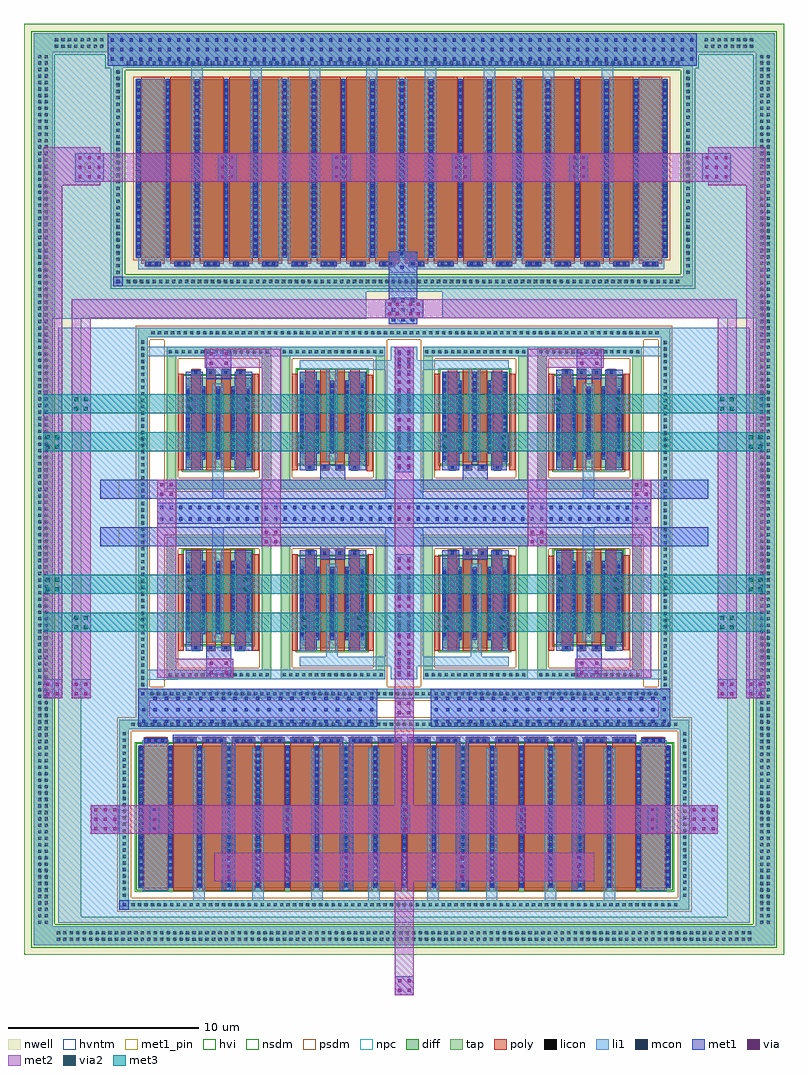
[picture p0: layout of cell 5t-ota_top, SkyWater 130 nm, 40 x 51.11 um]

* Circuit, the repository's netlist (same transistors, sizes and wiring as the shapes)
** sch_path: /foss/designs/icdec-biomedical-pmic/xschem/error-amplifier2/schematics/1st-stage.sch
.subckt 1st-stage VDD D1 D2 VP VN S D2 D1 VSS IBIAS S VSS
*.PININFO VDD:B D1:B D2:B VP:I VN:I S:B D2:B D1:B VSS:B IBIAS:I S:B VSS:B
XM1 D2 D1 VDD VDD sky130_fd_pr__pfet_g5v0d10v5 L=1.25 W=75.2 nf=8 m=1
XM2 D1 D1 VDD VDD sky130_fd_pr__pfet_g5v0d10v5 L=1.25 W=75.2 nf=8 m=1
XM3 D1 D1 D1 VDD sky130_fd_pr__pfet_g5v0d10v5 L=1.25 W=9.4 nf=1 m=1
XM4 D1 D1 D1 VDD sky130_fd_pr__pfet_g5v0d10v5 L=1.25 W=9.4 nf=1 m=1
XM5 D2 VN S VSS sky130_fd_pr__nfet_g5v0d10v5 L=0.5 W=38 nf=2 m=1
XM6 D1 VP S VSS sky130_fd_pr__nfet_g5v0d10v5 L=0.5 W=38 nf=2 m=1
XM7 D2 D2 D2 VSS sky130_fd_pr__nfet_g5v0d10v5 L=0.5 W=4.75 nf=1 m=1
XM8 D1 D1 D1 VSS sky130_fd_pr__nfet_g5v0d10v5 L=0.5 W=4.75 nf=1 m=1
XM9 D2 D2 D2 VSS sky130_fd_pr__nfet_g5v0d10v5 L=0.5 W=4.75 nf=1 m=1
XM10 D1 D1 D1 VSS sky130_fd_pr__nfet_g5v0d10v5 L=0.5 W=4.75 nf=1 m=1
XM11 D2 D2 D2 VSS sky130_fd_pr__nfet_g5v0d10v5 L=0.5 W=4.75 nf=1 m=1
XM12 D1 D1 D1 VSS sky130_fd_pr__nfet_g5v0d10v5 L=0.5 W=4.75 nf=1 m=1
XM13 D2 D2 D2 VSS sky130_fd_pr__nfet_g5v0d10v5 L=0.5 W=4.75 nf=1 m=1
XM14 D1 D1 D1 VSS sky130_fd_pr__nfet_g5v0d10v5 L=0.5 W=4.75 nf=1 m=1
XM15 D2 D2 D2 VSS sky130_fd_pr__nfet_g5v0d10v5 L=0.5 W=4.75 nf=1 m=1
XM16 D1 D1 D1 VSS sky130_fd_pr__nfet_g5v0d10v5 L=0.5 W=4.75 nf=1 m=1
XM17 D2 D2 D2 VSS sky130_fd_pr__nfet_g5v0d10v5 L=0.5 W=4.75 nf=1 m=1
XM18 D1 D1 D1 VSS sky130_fd_pr__nfet_g5v0d10v5 L=0.5 W=4.75 nf=1 m=1
XM19 D2 D2 D2 VSS sky130_fd_pr__nfet_g5v0d10v5 L=0.5 W=4.75 nf=1 m=1
XM20 D1 D1 D1 VSS sky130_fd_pr__nfet_g5v0d10v5 L=0.5 W=4.75 nf=1 m=1
XM21 D2 D2 D2 VSS sky130_fd_pr__nfet_g5v0d10v5 L=0.5 W=4.75 nf=1 m=1
XM22 D1 D1 D1 VSS sky130_fd_pr__nfet_g5v0d10v5 L=0.5 W=4.75 nf=1 m=1
XM23 S IBIAS VSS VSS sky130_fd_pr__nfet_g5v0d10v5 L=1.25 W=60 nf=4 m=1
XM24 IBIAS IBIAS VSS VSS sky130_fd_pr__nfet_g5v0d10v5 L=1.25 W=60 nf=4 m=1
XM25 S S S VSS sky130_fd_pr__nfet_g5v0d10v5 L=1.25 W=7.5 nf=1 m=1
XM26 S S S VSS sky130_fd_pr__nfet_g5v0d10v5 L=1.25 W=7.5 nf=1 m=1
.ends

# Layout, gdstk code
import gdstk
lib = gdstk.Library(unit=1e-6, precision=1e-09)
def R(c, l, rs):  # rectangles x0, y0, x1, y1
    for r in rs: c.add(gdstk.rectangle(r[:2], r[2:], *l))
def A(c, l, x, y, w, h, nx, ny, dx, dy):  # array of equal rectangles
    R(c, l, [(x+i*dx, y+j*dy, x+i*dx+w, y+j*dy+h) for i in range(nx) for j in range(ny)])
nwell = (64, 20)
diff = (65, 20)
tap = (65, 44)
poly = (66, 20)
licon = (66, 44)
li1 = (67, 20)
mcon = (67, 44)
met1_pin = (68, 16)
met1 = (68, 20)
via = (68, 44)
met2 = (69, 20)
via2 = (69, 44)
met3 = (70, 20)
hvi = (75, 20)
nsdm = (93, 44)
psdm = (94, 20)
npc = (95, 20)
hvntm = (125, 20)

sky130_fd_pr__nfet_g5v0d = lib.new_cell('sky130_fd_pr__nfet_g5v0d10v5_7GKDBD')
R(sky130_fd_pr__nfet_g5v0d, diff, [(-14.005,-3.905,14.005,3.595)])
A(sky130_fd_pr__nfet_g5v0d, poly, -13.715, -4.035, 1.25, 8.07, 18, 1, 1.54, 0)
A(sky130_fd_pr__nfet_g5v0d, licon, -13.945, -3.81, 0.17, 0.17, 19, 22, 1.54, 0.34)
A(sky130_fd_pr__nfet_g5v0d, licon, -13.515, 3.785, 0.17, 0.17, 3, 1, 0.34, 0)
A(sky130_fd_pr__nfet_g5v0d, licon, -11.975, 3.785, 0.17, 0.17, 3, 1, 0.34, 0)
A(sky130_fd_pr__nfet_g5v0d, licon, -10.435, 3.785, 0.17, 0.17, 3, 1, 0.34, 0)
A(sky130_fd_pr__nfet_g5v0d, licon, -8.895, 3.785, 0.17, 0.17, 3, 1, 0.34, 0)
A(sky130_fd_pr__nfet_g5v0d, licon, -7.355, 3.785, 0.17, 0.17, 3, 1, 0.34, 0)
A(sky130_fd_pr__nfet_g5v0d, licon, -5.815, 3.785, 0.17, 0.17, 3, 1, 0.34, 0)
A(sky130_fd_pr__nfet_g5v0d, licon, -4.275, 3.785, 0.17, 0.17, 3, 1, 0.34, 0)
A(sky130_fd_pr__nfet_g5v0d, licon, -2.735, 3.785, 0.17, 0.17, 3, 1, 0.34, 0)
A(sky130_fd_pr__nfet_g5v0d, licon, -1.195, 3.785, 0.17, 0.17, 3, 1, 0.34, 0)
A(sky130_fd_pr__nfet_g5v0d, licon, 0.345, 3.785, 0.17, 0.17, 3, 1, 0.34, 0)
A(sky130_fd_pr__nfet_g5v0d, licon, 1.885, 3.785, 0.17, 0.17, 3, 1, 0.34, 0)
A(sky130_fd_pr__nfet_g5v0d, licon, 3.425, 3.785, 0.17, 0.17, 3, 1, 0.34, 0)
A(sky130_fd_pr__nfet_g5v0d, licon, 4.965, 3.785, 0.17, 0.17, 3, 1, 0.34, 0)
A(sky130_fd_pr__nfet_g5v0d, licon, 6.505, 3.785, 0.17, 0.17, 3, 1, 0.34, 0)
A(sky130_fd_pr__nfet_g5v0d, licon, 8.045, 3.785, 0.17, 0.17, 3, 1, 0.34, 0)
A(sky130_fd_pr__nfet_g5v0d, licon, 9.585, 3.785, 0.17, 0.17, 3, 1, 0.34, 0)
A(sky130_fd_pr__nfet_g5v0d, licon, 11.125, 3.785, 0.17, 0.17, 3, 1, 0.34, 0)
A(sky130_fd_pr__nfet_g5v0d, licon, 12.665, 3.785, 0.17, 0.17, 3, 1, 0.34, 0)
A(sky130_fd_pr__nfet_g5v0d, li1, -13.945, -3.925, 0.17, 7.54, 19, 1, 1.54, 0)
A(sky130_fd_pr__nfet_g5v0d, li1, -13.715, 3.785, 1.25, 0.17, 18, 1, 1.54, 0)
A(sky130_fd_pr__nfet_g5v0d, mcon, -13.945, -3.84, 0.17, 0.17, 19, 21, 1.54, 0.36)
A(sky130_fd_pr__nfet_g5v0d, mcon, -13.535, 3.785, 0.17, 0.17, 3, 1, 0.36, 0)
A(sky130_fd_pr__nfet_g5v0d, mcon, -11.995, 3.785, 0.17, 0.17, 3, 1, 0.36, 0)
A(sky130_fd_pr__nfet_g5v0d, mcon, -10.455, 3.785, 0.17, 0.17, 3, 1, 0.36, 0)
A(sky130_fd_pr__nfet_g5v0d, mcon, -8.915, 3.785, 0.17, 0.17, 3, 1, 0.36, 0)
A(sky130_fd_pr__nfet_g5v0d, mcon, -7.375, 3.785, 0.17, 0.17, 3, 1, 0.36, 0)
A(sky130_fd_pr__nfet_g5v0d, mcon, -5.835, 3.785, 0.17, 0.17, 3, 1, 0.36, 0)
A(sky130_fd_pr__nfet_g5v0d, mcon, -4.295, 3.785, 0.17, 0.17, 3, 1, 0.36, 0)
A(sky130_fd_pr__nfet_g5v0d, mcon, -2.755, 3.785, 0.17, 0.17, 3, 1, 0.36, 0)
A(sky130_fd_pr__nfet_g5v0d, mcon, -1.215, 3.785, 0.17, 0.17, 3, 1, 0.36, 0)
A(sky130_fd_pr__nfet_g5v0d, mcon, 0.325, 3.785, 0.17, 0.17, 3, 1, 0.36, 0)
A(sky130_fd_pr__nfet_g5v0d, mcon, 1.865, 3.785, 0.17, 0.17, 3, 1, 0.36, 0)
A(sky130_fd_pr__nfet_g5v0d, mcon, 3.405, 3.785, 0.17, 0.17, 3, 1, 0.36, 0)
A(sky130_fd_pr__nfet_g5v0d, mcon, 4.945, 3.785, 0.17, 0.17, 3, 1, 0.36, 0)
A(sky130_fd_pr__nfet_g5v0d, mcon, 6.485, 3.785, 0.17, 0.17, 3, 1, 0.36, 0)
A(sky130_fd_pr__nfet_g5v0d, mcon, 8.025, 3.785, 0.17, 0.17, 3, 1, 0.36, 0)
A(sky130_fd_pr__nfet_g5v0d, mcon, 9.565, 3.785, 0.17, 0.17, 3, 1, 0.36, 0)
A(sky130_fd_pr__nfet_g5v0d, mcon, 11.105, 3.785, 0.17, 0.17, 3, 1, 0.36, 0)
A(sky130_fd_pr__nfet_g5v0d, mcon, 12.645, 3.785, 0.17, 0.17, 3, 1, 0.36, 0)
A(sky130_fd_pr__nfet_g5v0d, met1, -13.975, -3.905, 0.23, 7.5, 19, 1, 1.54, 0)
A(sky130_fd_pr__nfet_g5v0d, met1, -13.695, 3.755, 1.21, 0.23, 18, 1, 1.54, 0)
R(sky130_fd_pr__nfet_g5v0d, hvi, [(-14.19,-4.09,14.19,3.78)])
R(sky130_fd_pr__nfet_g5v0d, nsdm, [(-14.13,-4.03,14.13,3.72)])
A(sky130_fd_pr__nfet_g5v0d, npc, -13.615, 3.685, 1.05, 0.37, 18, 1, 1.54, 0)
R(sky130_fd_pr__nfet_g5v0d, hvntm, [(-14.19,-4.09,14.19,3.78)])

c_y = lib.new_cell('y')
R(c_y, tap, [(10.5,-4.5,40.5,-4), (10.5,-4,11,5), (40,-4,40.5,5), (10.5,5,40.5,5.5)])
A(c_y, licon, 11.135, -4.335, 0.17, 0.17, 85, 2, 0.34, 9.5)
A(c_y, licon, 10.665, -3.835, 0.17, 0.17, 1, 26, 0, 0.34)
A(c_y, licon, 40.165, -3.835, 0.17, 0.17, 1, 26, 0, 0.34)
A(c_y, li1, 14.4, -4, 0.6, 8, 3, 1, 3.1, 0)
A(c_y, li1, 23.6, -4, 0.6, 8, 5, 1, 3.1, 0)
R(c_y, li1, [(10.5,-4.5,40.5,-4), (10.5,-4,11,5), (40,-4,40.5,5), (11.7,-3.5,13.1,4.4), (37.9,-3.5,39.3,4.4), (10.5,5,40.5,5.5)])
A(c_y, mcon, 12.265, -0.335, 0.17, 0.17, 1, 3, 0, 0.5)
A(c_y, mcon, 38.465, -0.335, 0.17, 0.17, 1, 3, 0, 0.5)
R(c_y, mcon, [(10.665,-4.335,10.835,-4.165)])
R(c_y, met1_pin, [(25,-9,26,-8), (10.5,-4.5,11,-4), (9.3,-0.2,10.3,0.8)])
A(c_y, met1, 22.1, -3.5, 0.7, 7.8, 3, 1, 6.1, 0)
R(c_y, met1, [(25,-9,26,-8), (10.5,-4.5,11,-4), (15.9,-3.5,16.6,4.3), (9,-0.5,10.5,1), (12.1,-0.5,12.6,1), (19.1,-0.5,19.6,1), (25.3,-0.5,25.8,1), (31.4,-0.5,31.9,1), (38.3,-0.5,38.8,1), (40.5,-0.5,42,1), (13.3,4.3,37.7,4.7)])
A(c_y, via, 16.175, -2.825, 0.15, 0.15, 1, 3, 0, 0.5)
A(c_y, via, 22.375, -2.825, 0.15, 0.15, 3, 3, 6.1, 0.5)
A(c_y, via, 9.175, -0.325, 0.15, 0.15, 3, 3, 0.5, 0.5)
A(c_y, via, 12.275, -0.325, 0.15, 0.15, 1, 3, 0, 0.5)
A(c_y, via, 19.275, -0.325, 0.15, 0.15, 1, 3, 0, 0.5)
A(c_y, via, 25.475, -0.325, 0.15, 0.15, 1, 3, 0, 0.5)
A(c_y, via, 31.575, -0.325, 0.15, 0.15, 1, 3, 0, 0.5)
A(c_y, via, 38.475, -0.325, 0.15, 0.15, 1, 3, 0, 0.5)
A(c_y, via, 40.675, -0.325, 0.15, 0.15, 3, 3, 0.5, 0.5)
R(c_y, via, [(25.175,-8.825,25.325,-8.675), (25.675,-8.825,25.825,-8.675), (25.175,-8.325,25.325,-8.175), (25.675,-8.325,25.825,-8.175)])
R(c_y, met2, [(25,-9,26,-3), (15.5,-3,35.5,-1.5), (9,-0.5,42,1)])
R(c_y, psdm, [(10.375,-4.625,40.625,-3.875), (10.375,-3.875,11.125,4.875), (39.875,-3.875,40.625,4.875), (10.375,4.875,40.625,5.625)])
c_y.add(gdstk.Reference(sky130_fd_pr__nfet_g5v0d, (25.505,0.535)))
c_y.add(gdstk.Label('IBIAS', (25.5,-8.5), layer=68, texttype=5))
c_y.add(gdstk.Label('S', (9.8,0.3), layer=68, texttype=5))
c_y.add(gdstk.Label('VSS', (10.75,-4.25), layer=68, texttype=5))

sky130_fd_pr__pfet_g5v0d = lib.new_cell('sky130_fd_pr__pfet_g5v0d10v5_ZPXM7F')
R(sky130_fd_pr__pfet_g5v0d, nwell, [(-14.185,-5.02,14.185,5.19)])
R(sky130_fd_pr__pfet_g5v0d, diff, [(-14.005,-4.52,14.005,4.88)])
A(sky130_fd_pr__pfet_g5v0d, poly, -13.525, -5.005, 0.87, 0.165, 18, 1, 1.54, 0)
A(sky130_fd_pr__pfet_g5v0d, poly, -13.715, -4.84, 1.25, 9.85, 18, 1, 1.54, 0)
A(sky130_fd_pr__pfet_g5v0d, licon, -13.945, -4.325, 0.17, 0.17, 19, 27, 1.54, 0.34)
R(sky130_fd_pr__pfet_g5v0d, licon, [(-13.345,-4.925,-13.175,-4.755), (-13.005,-4.925,-12.835,-4.755), (-11.805,-4.925,-11.635,-4.755), (-11.465,-4.925,-11.295,-4.755), (-10.265,-4.925,-10.095,-4.755), (-9.925,-4.925,-9.755,-4.755), (-8.725,-4.925,-8.555,-4.755), (-8.385,-4.925,-8.215,-4.755), (-7.185,-4.925,-7.015,-4.755), (-6.845,-4.925,-6.675,-4.755), (-5.645,-4.925,-5.475,-4.755), (-5.305,-4.925,-5.135,-4.755), (-4.105,-4.925,-3.935,-4.755), (-3.765,-4.925,-3.595,-4.755), (-2.565,-4.925,-2.395,-4.755), (-2.225,-4.925,-2.055,-4.755), (-1.025,-4.925,-0.855,-4.755), (-0.685,-4.925,-0.515,-4.755), (0.515,-4.925,0.685,-4.755), (0.855,-4.925,1.025,-4.755), (2.055,-4.925,2.225,-4.755), (2.395,-4.925,2.565,-4.755), (3.595,-4.925,3.765,-4.755), (3.935,-4.925,4.105,-4.755), (5.135,-4.925,5.305,-4.755), (5.475,-4.925,5.645,-4.755), (6.675,-4.925,6.845,-4.755), (7.015,-4.925,7.185,-4.755), (8.215,-4.925,8.385,-4.755), (8.555,-4.925,8.725,-4.755), (9.755,-4.925,9.925,-4.755), (10.095,-4.925,10.265,-4.755), (11.295,-4.925,11.465,-4.755), (11.635,-4.925,11.805,-4.755), (12.835,-4.925,13.005,-4.755), (13.175,-4.925,13.345,-4.755)])
A(sky130_fd_pr__pfet_g5v0d, li1, -13.525, -4.925, 0.87, 0.17, 18, 1, 1.54, 0)
A(sky130_fd_pr__pfet_g5v0d, li1, -13.945, -4.54, 0.17, 9.44, 19, 1, 1.54, 0)
A(sky130_fd_pr__pfet_g5v0d, mcon, -13.945, -4.405, 0.17, 0.17, 19, 26, 1.54, 0.36)
R(sky130_fd_pr__pfet_g5v0d, mcon, [(-13.355,-4.925,-13.185,-4.755), (-12.995,-4.925,-12.825,-4.755), (-11.815,-4.925,-11.645,-4.755), (-11.455,-4.925,-11.285,-4.755), (-10.275,-4.925,-10.105,-4.755), (-9.915,-4.925,-9.745,-4.755), (-8.735,-4.925,-8.565,-4.755), (-8.375,-4.925,-8.205,-4.755), (-7.195,-4.925,-7.025,-4.755), (-6.835,-4.925,-6.665,-4.755), (-5.655,-4.925,-5.485,-4.755), (-5.295,-4.925,-5.125,-4.755), (-4.115,-4.925,-3.945,-4.755), (-3.755,-4.925,-3.585,-4.755), (-2.575,-4.925,-2.405,-4.755), (-2.215,-4.925,-2.045,-4.755), (-1.035,-4.925,-0.865,-4.755), (-0.675,-4.925,-0.505,-4.755), (0.505,-4.925,0.675,-4.755), (0.865,-4.925,1.035,-4.755), (2.045,-4.925,2.215,-4.755), (2.405,-4.925,2.575,-4.755), (3.585,-4.925,3.755,-4.755), (3.945,-4.925,4.115,-4.755), (5.125,-4.925,5.295,-4.755), (5.485,-4.925,5.655,-4.755), (6.665,-4.925,6.835,-4.755), (7.025,-4.925,7.195,-4.755), (8.205,-4.925,8.375,-4.755), (8.565,-4.925,8.735,-4.755), (9.745,-4.925,9.915,-4.755), (10.105,-4.925,10.275,-4.755), (11.285,-4.925,11.455,-4.755), (11.645,-4.925,11.815,-4.755), (12.825,-4.925,12.995,-4.755), (13.185,-4.925,13.355,-4.755)])
A(sky130_fd_pr__pfet_g5v0d, met1, -13.505, -4.955, 0.83, 0.23, 18, 1, 1.54, 0)
A(sky130_fd_pr__pfet_g5v0d, met1, -13.975, -4.52, 0.23, 9.4, 19, 1, 1.54, 0)
R(sky130_fd_pr__pfet_g5v0d, hvi, [(-14.185,-5.02,14.185,-4.705), (-14.19,-4.705,14.19,5.065), (-14.185,5.065,14.185,5.19)])
R(sky130_fd_pr__pfet_g5v0d, psdm, [(-14.13,-4.645,14.13,5.005)])
A(sky130_fd_pr__pfet_g5v0d, npc, -13.445, -5.025, 0.71, 0.37, 18, 1, 1.54, 0)

mirror_load = lib.new_cell('mirror-load')
R(mirror_load, nwell, [(6.2,-0.8,37.2,11.7)])
R(mirror_load, tap, [(6.5,-0.5,37,0), (6.5,0,7,11), (36.5,0,37,11), (6.5,11,37,11.5)])
A(mirror_load, licon, 7.215, -0.335, 0.17, 0.17, 86, 2, 0.34, 11.5)
A(mirror_load, licon, 6.665, 0.145, 0.17, 0.17, 1, 32, 0, 0.34)
A(mirror_load, licon, 36.665, 0.145, 0.17, 0.17, 1, 32, 0, 0.34)
A(mirror_load, li1, 10.6, 1, 0.6, 10, 3, 1, 3.1, 0)
A(mirror_load, li1, 19.8, 1, 0.6, 10, 5, 1, 3.1, 0)
R(mirror_load, li1, [(21,-2.5,22.5,-1.1), (6.5,-0.5,37,0), (6.5,0,7,11), (36.5,0,37,11), (21,0.2,22.5,0.4), (7.8,0.4,35.5,0.8), (7.8,0.8,9.3,10.4), (15.2,0.8,15.8,10.4), (21,0.8,22.5,1.3), (27.5,0.8,28.1,10.4), (34,0.8,35.5,10.4), (21.4,1.3,22,10.4), (6.5,11,37,11.5)])
A(mirror_load, mcon, 21.165, -2.335, 0.17, 0.17, 3, 3, 0.5, 0.5)
R(mirror_load, mcon, [(6.665,-0.335,6.835,-0.165), (21.615,0.415,21.785,0.585)])
R(mirror_load, met1_pin, [(21.5,-2,22,-1.5), (6.5,-0.5,7,0), (5,5.5,5.5,6)])
R(mirror_load, met1, [(21,-2.5,22.5,1.3), (6.5,-0.5,7,0), (4.5,5,6,6.5), (12,5,13,6.5), (18,5,19,6.5), (24.3,5,25.3,6.5), (30.5,5,31.5,6.5), (37.5,5,39,6.5)])
A(mirror_load, via, 4.675, 5.175, 0.15, 0.15, 3, 3, 0.5, 0.5)
A(mirror_load, via, 12.175, 5.175, 0.15, 0.15, 1, 3, 0, 0.5)
A(mirror_load, via, 12.675, 5.175, 0.15, 0.15, 1, 3, 0, 0.5)
A(mirror_load, via, 18.175, 5.175, 0.15, 0.15, 1, 3, 0, 0.5)
A(mirror_load, via, 18.675, 5.175, 0.15, 0.15, 1, 3, 0, 0.5)
A(mirror_load, via, 24.475, 5.175, 0.15, 0.15, 1, 3, 0, 0.5)
A(mirror_load, via, 24.975, 5.175, 0.15, 0.15, 1, 3, 0, 0.5)
A(mirror_load, via, 30.675, 5.175, 0.15, 0.15, 1, 3, 0, 0.5)
A(mirror_load, via, 31.175, 5.175, 0.15, 0.15, 1, 3, 0, 0.5)
A(mirror_load, via, 37.675, 5.175, 0.15, 0.15, 3, 3, 0.5, 0.5)
R(mirror_load, met2, [(4.5,5,39,6.5)])
R(mirror_load, hvi, [(6.2,-0.8,37.2,0.5), (6.2,0.5,7.5,0.815), (35.87,0.5,37.2,0.815), (6.2,0.815,7.495,10.585), (35.875,0.815,37.2,10.585), (6.2,10.585,7.5,10.71), (35.87,10.585,37.2,10.71), (6.2,10.71,37.2,11.7)])
R(mirror_load, nsdm, [(6.375,-0.625,37.125,0.125), (6.375,0.125,7.125,10.875), (36.375,0.125,37.125,10.875), (6.375,10.875,37.125,11.625)])
mirror_load.add(gdstk.Reference(sky130_fd_pr__pfet_g5v0d, (21.685,5.52)))
mirror_load.add(gdstk.Label('VDD', (6.75,-0.25), layer=68, texttype=5))
mirror_load.add(gdstk.Label('D1', (21.75,-1.75), layer=68, texttype=5))
mirror_load.add(gdstk.Label('D2', (5.25,5.75), layer=68, texttype=5))

c_sky130_fd_pr__nfet_g5v0d = lib.new_cell('sky130_fd_pr__nfet_g5v0d10v5_X57ESK')
R(c_sky130_fd_pr__nfet_g5v0d, diff, [(-1.725,-2.53,1.725,2.22)])
A(c_sky130_fd_pr__nfet_g5v0d, poly, -1.435, -2.66, 0.5, 5.32, 4, 1, 0.79, 0)
A(c_sky130_fd_pr__nfet_g5v0d, licon, -1.665, -1.94, 0.17, 0.17, 5, 11, 0.79, 0.34)
A(c_sky130_fd_pr__nfet_g5v0d, licon, -1.27, 2.41, 0.17, 0.17, 4, 1, 0.79, 0)
A(c_sky130_fd_pr__nfet_g5v0d, li1, -1.665, -2.085, 0.17, 3.86, 5, 1, 0.79, 0)
A(c_sky130_fd_pr__nfet_g5v0d, li1, -1.435, 2.41, 0.5, 0.17, 4, 1, 0.79, 0)
A(c_sky130_fd_pr__nfet_g5v0d, mcon, -1.665, -1.86, 0.17, 0.17, 5, 10, 0.79, 0.36)
A(c_sky130_fd_pr__nfet_g5v0d, mcon, -1.27, 2.41, 0.17, 0.17, 4, 1, 0.79, 0)
A(c_sky130_fd_pr__nfet_g5v0d, met1, -1.695, -2.065, 0.23, 3.82, 5, 1, 0.79, 0)
A(c_sky130_fd_pr__nfet_g5v0d, met1, -1.415, 2.38, 0.46, 0.23, 4, 1, 0.79, 0)
R(c_sky130_fd_pr__nfet_g5v0d, hvi, [(-1.91,-2.715,1.91,2.405)])
R(c_sky130_fd_pr__nfet_g5v0d, nsdm, [(-1.85,-2.655,1.85,2.345)])
A(c_sky130_fd_pr__nfet_g5v0d, npc, -1.37, 2.31, 0.37, 0.37, 4, 1, 0.79, 0)
R(c_sky130_fd_pr__nfet_g5v0d, hvntm, [(-1.91,-2.715,1.91,2.405)])

c_sky130_fd_pr__nfet_g5v0d_ = lib.new_cell('sky130_fd_pr__nfet_g5v0d10v5_SNDLS5')
R(c_sky130_fd_pr__nfet_g5v0d_, diff, [(-1.725,-2.22,1.725,2.53)])
A(c_sky130_fd_pr__nfet_g5v0d_, poly, -1.435, -2.66, 0.5, 5.32, 4, 1, 0.79, 0)
A(c_sky130_fd_pr__nfet_g5v0d_, licon, -1.27, -2.58, 0.17, 0.17, 4, 1, 0.79, 0)
A(c_sky130_fd_pr__nfet_g5v0d_, licon, -1.665, -1.63, 0.17, 0.17, 5, 11, 0.79, 0.34)
A(c_sky130_fd_pr__nfet_g5v0d_, li1, -1.435, -2.58, 0.5, 0.17, 4, 1, 0.79, 0)
A(c_sky130_fd_pr__nfet_g5v0d_, li1, -1.665, -2.16, 0.17, 4.63, 3, 1, 1.58, 0)
R(c_sky130_fd_pr__nfet_g5v0d_, li1, [(-0.875,-1.775,-0.705,2.085), (0.705,-1.775,0.875,2.085)])
A(c_sky130_fd_pr__nfet_g5v0d_, mcon, -1.27, -2.58, 0.17, 0.17, 4, 1, 0.79, 0)
A(c_sky130_fd_pr__nfet_g5v0d_, mcon, -1.665, -2.09, 0.17, 0.17, 3, 13, 1.58, 0.36)
A(c_sky130_fd_pr__nfet_g5v0d_, mcon, -0.875, -1.55, 0.17, 0.17, 1, 10, 0, 0.36)
A(c_sky130_fd_pr__nfet_g5v0d_, mcon, 0.705, -1.55, 0.17, 0.17, 1, 10, 0, 0.36)
A(c_sky130_fd_pr__nfet_g5v0d_, met1, -1.415, -2.61, 0.46, 0.23, 4, 1, 0.79, 0)
A(c_sky130_fd_pr__nfet_g5v0d_, met1, -1.695, -2.22, 0.23, 4.75, 3, 1, 1.58, 0)
R(c_sky130_fd_pr__nfet_g5v0d_, met1, [(-0.905,-1.755,-0.675,2.065), (0.675,-1.755,0.905,2.065)])
R(c_sky130_fd_pr__nfet_g5v0d_, hvi, [(-1.91,-2.405,1.91,2.715)])
R(c_sky130_fd_pr__nfet_g5v0d_, nsdm, [(-1.85,-2.345,1.85,2.655)])
A(c_sky130_fd_pr__nfet_g5v0d_, npc, -1.37, -2.68, 0.37, 0.37, 4, 1, 0.79, 0)
R(c_sky130_fd_pr__nfet_g5v0d_, hvntm, [(-1.91,-2.405,1.91,2.715)])

c_sky130_fd_pr__nfet_g5v0d__ = lib.new_cell('sky130_fd_pr__nfet_g5v0d10v5_CQ6KSH')
R(c_sky130_fd_pr__nfet_g5v0d__, diff, [(-1.725,-2.22,1.725,2.53)])
A(c_sky130_fd_pr__nfet_g5v0d__, poly, -1.435, -2.66, 0.5, 5.32, 4, 1, 0.79, 0)
A(c_sky130_fd_pr__nfet_g5v0d__, licon, -1.27, -2.58, 0.17, 0.17, 4, 1, 0.79, 0)
A(c_sky130_fd_pr__nfet_g5v0d__, licon, -1.665, -1.63, 0.17, 0.17, 5, 11, 0.79, 0.34)
A(c_sky130_fd_pr__nfet_g5v0d__, li1, -1.435, -2.58, 0.5, 0.17, 4, 1, 0.79, 0)
A(c_sky130_fd_pr__nfet_g5v0d__, li1, -1.665, -1.775, 0.17, 3.86, 5, 1, 0.79, 0)
A(c_sky130_fd_pr__nfet_g5v0d__, mcon, -1.27, -2.58, 0.17, 0.17, 4, 1, 0.79, 0)
A(c_sky130_fd_pr__nfet_g5v0d__, mcon, -1.665, -1.55, 0.17, 0.17, 5, 10, 0.79, 0.36)
A(c_sky130_fd_pr__nfet_g5v0d__, met1, -1.415, -2.61, 0.46, 0.23, 4, 1, 0.79, 0)
A(c_sky130_fd_pr__nfet_g5v0d__, met1, -1.695, -1.755, 0.23, 3.82, 5, 1, 0.79, 0)
R(c_sky130_fd_pr__nfet_g5v0d__, hvi, [(-1.91,-2.405,1.91,2.715)])
R(c_sky130_fd_pr__nfet_g5v0d__, nsdm, [(-1.85,-2.345,1.85,2.655)])
A(c_sky130_fd_pr__nfet_g5v0d__, npc, -1.37, -2.68, 0.37, 0.37, 4, 1, 0.79, 0)
R(c_sky130_fd_pr__nfet_g5v0d__, hvntm, [(-1.91,-2.405,1.91,2.715)])

differential_pair = lib.new_cell('differential-pair')
R(differential_pair, tap, [(6.5,-1.5,34.5,-1), (6.5,-1,7,17.5), (34,-1,34.5,17.5), (8,-0.5,13.5,0), (14,-0.5,19.5,0), (21.5,-0.5,27,0), (27.5,-0.5,33,0), (8,0,8.5,6.5), (13,0,13.5,6.5), (14,0,14.5,6.5), (19,0,19.5,6.5), (21.5,0,22,6.5), (26.5,0,27,6.5), (27.5,0,28,6.5), (32.5,0,33,6.5), (8,6.5,13.5,7), (14,6.5,19.5,7), (21.5,6.5,27,7), (27.5,6.5,33,7), (8,9.5,13.5,10), (14,9.5,19.5,10), (21.5,9.5,27,10), (27.5,9.5,33,10), (8,10,8.5,16.5), (13,10,13.5,16.5), (14,10,14.5,16.5), (19,10,19.5,16.5), (21.5,10,22,16.5), (26.5,10,27,16.5), (27.5,10,28,16.5), (32.5,10,33,16.5), (8,16.5,13.5,17), (14,16.5,19.5,17), (21.5,16.5,27,17), (27.5,16.5,33,17), (6.5,17.5,34.5,18)])
R(differential_pair, poly, [(8.6,1,8.9,6.1), (12.55,1,12.85,6.1), (14.6,1,14.9,6.1), (18.6,1,18.9,6.1), (22.1,1,22.4,6), (26.05,1,26.35,6), (28.1,1,28.4,6), (32.05,1.05,32.35,6.05), (18.55,10.45,18.85,15.55), (8.6,10.5,8.9,15.6), (12.55,10.5,12.85,15.6), (14.6,10.5,14.9,15.6), (22.1,10.5,22.4,15.6), (26.05,10.5,26.35,15.6), (28.1,10.5,28.4,15.6), (32.05,10.5,32.35,15.6)])
A(differential_pair, licon, 7.155, -1.335, 0.17, 0.17, 79, 1, 0.34, 0)
A(differential_pair, licon, 34.165, -0.87, 0.17, 0.17, 1, 54, 0, 0.34)
A(differential_pair, licon, 6.665, -0.845, 0.17, 0.17, 1, 54, 0, 0.34)
A(differential_pair, licon, 8.115, -0.335, 0.17, 0.17, 16, 2, 0.34, 17)
A(differential_pair, licon, 14.115, -0.335, 0.17, 0.17, 16, 2, 0.34, 17)
A(differential_pair, licon, 21.615, -0.335, 0.17, 0.17, 16, 2, 0.34, 17)
A(differential_pair, licon, 27.615, -0.335, 0.17, 0.17, 16, 2, 0.34, 17)
A(differential_pair, licon, 7.205, 17.665, 0.17, 0.17, 79, 1, 0.34, 0)
R(differential_pair, li1, [(6.5,-1.5,34.5,-1), (6.5,-1,7,-0.51), (34,-1,34.5,-0.5), (6.5,-0.51,8.6,-0.5), (6.5,-0.5,19.5,0), (19.8,-0.5,21.2,0.2), (21.5,-0.5,34.5,0), (6.5,0,7,16.5), (32.4,0,34.5,0.01), (34,0.01,34.5,16.5), (15,0.2,26,0.7), (16.4,0.7,17,5.6), (19.5,0.7,21.5,7.5), (24,0.7,24.6,5.6), (10.4,1.5,11,7.5), (29.9,1.5,30.5,7.5), (7.5,7.5,33.5,9), (10.4,9,11,15.1), (19.5,9,21.5,15.8), (29.9,9,30.5,15.1), (16.4,11,17,15.8), (23.9,11,24.5,15.8), (15,15.8,26,16.3), (19.8,16.3,21.2,17), (6.5,16.5,19.5,17), (21.5,16.5,34.5,17), (6.5,17,8.6,17.01), (32.4,17,34.5,17.01), (6.5,17.01,7,17.5), (34,17.01,34.5,17.5), (6.5,17.5,34.5,18)])
A(differential_pair, mcon, 20.165, -0.235, 0.17, 0.17, 1, 13, 0, 0.5)
A(differential_pair, mcon, 20.665, -0.235, 0.17, 0.17, 1, 13, 0, 0.5)
A(differential_pair, mcon, 7.665, 7.865, 0.17, 0.17, 52, 2, 0.5, 0.6)
A(differential_pair, mcon, 20.165, 10.565, 0.17, 0.17, 1, 13, 0, 0.5)
A(differential_pair, mcon, 20.665, 10.565, 0.17, 0.17, 1, 13, 0, 0.5)
R(differential_pair, mcon, [(6.665,-1.335,6.835,-1.165)])
R(differential_pair, met1_pin, [(20.3,-2.3,20.8,-1.8), (1.6,-1.5,2.1,-1), (3.2,-1.5,3.7,-1), (6.5,-1.5,7,-1), (4.5,6.5,5.5,7.5), (4.5,9,5.5,10)])
R(differential_pair, met1, [(20,-2.5,21,-1.5), (1.5,-1.5,2.5,-0.5), (3,-1.5,4,-0.5), (6.5,-1.5,7,-1), (37,-1.5,38,-0.5), (38.5,-1.5,39.5,-0.5), (20,-0.5,21,6.1), (10.1,-0.4,11.4,1.2), (29.6,-0.4,30.9,1.3), (9,1,9.9,6.3), (11.6,1,12.5,6.3), (15,1,15.9,6.3), (17.6,1,18.5,6.3), (22.5,1,23.4,6.3), (25.1,1,26,6.3), (28.5,1,29.4,6.3), (31.1,1,32,6.3), (16.1,5.8,17.4,6.5), (23.6,5.8,24.9,6.5), (4.5,6.5,36.5,7.5), (7.5,7.7,33.5,8.8), (4.5,9,36.5,10), (16.1,10,17.4,10.7), (23.6,10,24.9,10.8), (20,10.4,21,17), (9,10.5,9.9,15.7), (11.6,10.5,12.5,15.7), (15,10.5,15.9,11.5), (17.6,10.5,18.5,15.7), (22.5,10.5,23.4,11.5), (25.1,10.5,25.9,11.5), (28.5,10.5,29.4,13.5), (31.1,10.5,32,15.8), (16.2,10.7,17.3,10.8), (14.9,11.5,15.9,12.5), (22.4,11.5,23.4,12.5), (25.1,11.5,26,12.5), (15,12.5,15.9,13.5), (22.5,12.5,23.4,15.7), (25.1,12.5,25.9,15.7), (14.9,13.5,15.9,14.5), (28.4,13.5,29.4,14.5), (15,14.5,15.9,15.7), (28.5,14.5,29.4,15.8), (10.1,15.3,11.4,16.9), (29.6,15.3,30.9,16.9)])
A(differential_pair, via, 20.175, -0.325, 0.15, 0.15, 1, 16, 0, 0.4)
A(differential_pair, via, 20.675, -0.325, 0.15, 0.15, 1, 16, 0, 0.4)
A(differential_pair, via, 20.175, 10.675, 0.15, 0.15, 1, 16, 0, 0.4)
A(differential_pair, via, 20.675, 10.675, 0.15, 0.15, 1, 16, 0, 0.4)
R(differential_pair, via, [(20.175,-2.325,20.325,-2.175), (20.675,-2.325,20.825,-2.175), (20.175,-1.825,20.325,-1.675), (20.675,-1.825,20.825,-1.675), (1.675,-1.325,1.825,-1.175), (2.175,-1.325,2.325,-1.175), (3.175,-1.325,3.325,-1.175), (3.675,-1.325,3.825,-1.175), (37.175,-1.325,37.325,-1.175), (37.675,-1.325,37.825,-1.175), (38.675,-1.325,38.825,-1.175), (39.175,-1.325,39.325,-1.175), (1.675,-0.825,1.825,-0.675), (2.175,-0.825,2.325,-0.675), (3.175,-0.825,3.325,-0.675), (3.675,-0.825,3.825,-0.675), (37.175,-0.825,37.325,-0.675), (37.675,-0.825,37.825,-0.675), (38.675,-0.825,38.825,-0.675), (39.175,-0.825,39.325,-0.675), (10.275,-0.225,10.425,-0.075), (11.075,-0.225,11.225,-0.075), (29.775,-0.225,29.925,-0.075), (30.575,-0.225,30.725,-0.075), (10.275,0.275,10.425,0.425), (11.075,0.275,11.225,0.425), (29.775,0.275,29.925,0.425), (30.575,0.275,30.725,0.425), (15.175,2.175,15.325,2.325), (18.075,2.175,18.225,2.325), (22.675,2.175,22.825,2.325), (25.575,2.175,25.725,2.325), (15.175,2.675,15.325,2.825), (18.075,2.675,18.225,2.825), (22.675,2.675,22.825,2.825), (25.575,2.675,25.725,2.825), (9.175,4.175,9.325,4.325), (12.075,4.175,12.225,4.325), (28.675,4.175,28.825,4.325), (31.575,4.175,31.725,4.325), (9.175,4.675,9.325,4.825), (12.075,4.675,12.225,4.825), (28.675,4.675,28.825,4.825), (31.575,4.675,31.725,4.825), (13.175,6.675,13.325,6.825), (13.675,6.675,13.825,6.825), (27.175,6.675,27.325,6.825), (27.675,6.675,27.825,6.825), (13.175,7.175,13.325,7.325), (13.675,7.175,13.825,7.325), (27.175,7.175,27.325,7.325), (27.675,7.175,27.825,7.325), (20.175,7.875,20.325,8.025), (20.675,7.875,20.825,8.025), (20.175,8.475,20.325,8.625), (20.675,8.475,20.825,8.625), (7.675,9.175,7.825,9.325), (8.175,9.175,8.325,9.325), (32.675,9.175,32.825,9.325), (33.175,9.175,33.325,9.325), (7.675,9.675,7.825,9.825), (8.175,9.675,8.325,9.825), (32.675,9.675,32.825,9.825), (33.175,9.675,33.325,9.825), (15.075,11.675,15.225,11.825), (18.175,11.675,18.325,11.825), (22.575,11.675,22.725,11.825), (25.675,11.675,25.825,11.825), (15.075,12.175,15.225,12.325), (18.175,12.175,18.325,12.325), (22.575,12.175,22.725,12.325), (25.675,12.175,25.825,12.325), (9.175,13.675,9.325,13.825), (12.175,13.675,12.325,13.825), (28.575,13.675,28.725,13.825), (31.675,13.675,31.825,13.825), (9.175,14.175,9.325,14.325), (12.175,14.175,12.325,14.325), (28.575,14.175,28.725,14.325), (31.675,14.175,31.825,14.325), (10.275,16.075,10.425,16.225), (11.075,16.075,11.225,16.225), (29.775,16.075,29.925,16.225), (30.575,16.075,30.725,16.225), (10.275,16.575,10.425,16.725), (11.075,16.575,11.225,16.725), (29.775,16.575,29.925,16.725), (30.575,16.575,30.725,16.725)])
R(differential_pair, met2, [(20,-2.5,21,17), (1.5,-1.5,2.5,18), (3,-1.5,4,18), (37,-1.5,38,18), (38.5,-1.5,39.5,18), (7.5,-0.4,11.5,0.6), (29.5,-0.4,33.5,0.6), (7.5,0.6,8.5,10), (32.5,0.6,33.5,10), (15,2,15.5,3), (17.9,2,18.4,3), (22.5,2,23,3), (25.4,2,25.9,3), (9,4,9.5,5), (11.9,4,12.4,5), (28.5,4,29,5), (31.4,4,31.9,5), (13,6.5,14,15.9), (27,6.5,28,15.9), (14.9,11.5,15.4,12.5), (18,11.5,18.5,12.5), (22.4,11.5,22.9,12.5), (25.5,11.5,26,12.5), (9,13.5,9.5,14.5), (12,13.5,12.5,14.5), (28.4,13.5,28.9,14.5), (31.5,13.5,32,14.5), (10,15.9,14,16.9), (27,15.9,31,16.9)])
R(differential_pair, via2, [(3.15,2.15,3.35,2.35), (3.65,2.15,3.85,2.35), (15.15,2.15,15.35,2.35), (18.05,2.15,18.25,2.35), (22.65,2.15,22.85,2.35), (25.55,2.15,25.75,2.35), (37.15,2.15,37.35,2.35), (37.65,2.15,37.85,2.35), (3.15,2.65,3.35,2.85), (3.65,2.65,3.85,2.85), (15.15,2.65,15.35,2.85), (18.05,2.65,18.25,2.85), (22.65,2.65,22.85,2.85), (25.55,2.65,25.75,2.85), (37.15,2.65,37.35,2.85), (37.65,2.65,37.85,2.85), (1.65,4.15,1.85,4.35), (2.15,4.15,2.35,4.35), (9.15,4.15,9.35,4.35), (12.05,4.15,12.25,4.35), (28.65,4.15,28.85,4.35), (31.55,4.15,31.75,4.35), (38.65,4.15,38.85,4.35), (39.15,4.15,39.35,4.35), (1.65,4.65,1.85,4.85), (2.15,4.65,2.35,4.85), (9.15,4.65,9.35,4.85), (12.05,4.65,12.25,4.85), (28.65,4.65,28.85,4.85), (31.55,4.65,31.75,4.85), (38.65,4.65,38.85,4.85), (39.15,4.65,39.35,4.85), (1.65,11.65,1.85,11.85), (2.15,11.65,2.35,11.85), (15.05,11.65,15.25,11.85), (18.15,11.65,18.35,11.85), (22.55,11.65,22.75,11.85), (25.65,11.65,25.85,11.85), (38.65,11.65,38.85,11.85), (39.15,11.65,39.35,11.85), (1.65,12.15,1.85,12.35), (2.15,12.15,2.35,12.35), (15.05,12.15,15.25,12.35), (18.15,12.15,18.35,12.35), (22.55,12.15,22.75,12.35), (25.65,12.15,25.85,12.35), (38.65,12.15,38.85,12.35), (39.15,12.15,39.35,12.35), (3.15,13.65,3.35,13.85), (3.65,13.65,3.85,13.85), (9.15,13.65,9.35,13.85), (12.15,13.65,12.35,13.85), (28.55,13.65,28.75,13.85), (31.65,13.65,31.85,13.85), (37.15,13.65,37.35,13.85), (37.65,13.65,37.85,13.85), (3.15,14.15,3.35,14.35), (3.65,14.15,3.85,14.35), (9.15,14.15,9.35,14.35), (12.15,14.15,12.35,14.35), (28.55,14.15,28.75,14.35), (31.65,14.15,31.85,14.35), (37.15,14.15,37.35,14.35), (37.65,14.15,37.85,14.35)])
R(differential_pair, met3, [(1.5,2,39.5,3), (1.5,4,39.5,5), (1.5,11.5,39.5,12.5), (1.5,13.5,39.5,14.5)])
R(differential_pair, psdm, [(6.375,-1.625,34.625,-0.875), (6.375,-0.875,7.125,17.375), (7.875,-0.875,19.625,0.125), (21.375,-0.875,33.125,0.125), (33.875,-0.875,34.625,17.375), (7.875,0.125,8.625,6.375), (12.875,0.125,14.625,6.375), (18.875,0.125,19.625,6.375), (21.375,0.125,22.125,6.375), (26.375,0.125,28.125,6.375), (32.375,0.125,33.125,6.375), (7.875,6.375,19.625,7.125), (21.375,6.375,33.125,7.125), (7.875,9.375,19.625,10.125), (21.375,9.375,33.125,10.125), (7.875,10.125,8.625,16.375), (12.875,10.125,14.625,16.375), (18.875,10.125,19.625,16.375), (21.375,10.125,22.125,16.375), (26.375,10.125,28.125,16.375), (32.375,10.125,33.125,16.375), (7.875,16.375,19.625,17.375), (21.375,16.375,33.125,17.375), (6.375,17.375,34.625,18.125)])
differential_pair.add(gdstk.Reference(c_sky130_fd_pr__nfet_g5v0d, (16.725,3.66)))
differential_pair.add(gdstk.Reference(c_sky130_fd_pr__nfet_g5v0d, (24.225,3.66)))
differential_pair.add(gdstk.Reference(c_sky130_fd_pr__nfet_g5v0d, (30.225,13.16)))
differential_pair.add(gdstk.Reference(c_sky130_fd_pr__nfet_g5v0d, (10.725,13.16)))
differential_pair.add(gdstk.Reference(c_sky130_fd_pr__nfet_g5v0d_, (24.225,13.16)))
differential_pair.add(gdstk.Reference(c_sky130_fd_pr__nfet_g5v0d__, (10.725,3.66)))
differential_pair.add(gdstk.Reference(c_sky130_fd_pr__nfet_g5v0d__, (30.225,3.66)))
differential_pair.add(gdstk.Reference(c_sky130_fd_pr__nfet_g5v0d__, (16.725,13.16)))
differential_pair.add(gdstk.Label('VP', (5,7), layer=68, texttype=5))
differential_pair.add(gdstk.Label('VN', (5,9.5), layer=68, texttype=5))
differential_pair.add(gdstk.Label('S', (20.55,-2.05), layer=68, texttype=5))
differential_pair.add(gdstk.Label('D2', (1.85,-1.25), layer=68, texttype=5))
differential_pair.add(gdstk.Label('D1', (3.45,-1.25), layer=68, texttype=5))
differential_pair.add(gdstk.Label('VSS', (6.75,-1.25), layer=68, texttype=5))

c_5t_ota_top = lib.new_cell('5t-ota_top')
R(c_5t_ota_top, nwell, [(6,-23,46,-21), (6,-21,9,10.5), (43,-21,46,10.5), (6,10.5,46,26)])
R(c_5t_ota_top, tap, [(6.5,-22.5,45.5,-21.5), (6.5,-21.5,7.5,24.5), (44.5,-21.5,45.5,24.5), (12,-11,12.5,-9), (39.5,-11,40,-9), (10.4,23.8,41.4,24.5), (6.5,24.5,45.5,25.5)])
A(c_5t_ota_top, licon, 7.725, -22.255, 0.17, 0.17, 108, 2, 0.34, 0.34)
A(c_5t_ota_top, licon, 6.745, -21.365, 0.17, 0.17, 1, 135, 0, 0.34)
A(c_5t_ota_top, licon, 7.085, -21.365, 0.17, 0.17, 1, 135, 0, 0.34)
A(c_5t_ota_top, licon, 44.745, -21.365, 0.17, 0.17, 1, 135, 0, 0.34)
A(c_5t_ota_top, licon, 45.085, -21.365, 0.17, 0.17, 1, 135, 0, 0.34)
A(c_5t_ota_top, licon, 7.625, 24.745, 0.17, 0.17, 8, 2, 0.34, 0.34)
A(c_5t_ota_top, licon, 41.825, 24.745, 0.17, 0.17, 8, 2, 0.34, 0.34)
R(c_5t_ota_top, li1, [(6.5,-22.5,45.5,-21.5), (6.5,-21.5,7.5,10.49), (44.5,-21.5,45.5,10.5), (7.8,-21.3,44.2,-20.5), (7.8,-20.5,11.125,-10.7), (41,-20.5,44.2,-10.8), (12,-11,24.6,-10.7), (27.4,-11,40,-10.8), (27.4,-10.8,44.2,-9), (7.8,-10.7,24.6,-9), (7.8,-9,12,10), (40,-9,44.2,10), (6.5,10.49,24,11.9), (25,10.5,27,11.5), (28,10.5,45.5,11.9), (6.5,11.9,45.5,12.48), (6.5,12.48,10.88,23.8), (41.08,12.48,45.5,23.8), (6.5,23.8,45.5,25.5)])
A(c_5t_ota_top, mcon, 12.215, -10.785, 0.17, 0.17, 21, 2, 0.6, 0.6)
A(c_5t_ota_top, mcon, 27.615, -10.785, 0.17, 0.17, 21, 3, 0.6, 0.6)
A(c_5t_ota_top, mcon, 12.815, -9.585, 0.17, 0.17, 20, 1, 0.6, 0)
A(c_5t_ota_top, mcon, 10.565, 24.065, 0.17, 0.17, 62, 3, 0.5, 0.5)
R(c_5t_ota_top, met1, [(12,-11,24.6,-9), (27.4,-11,40,-9), (25,10.5,27,11.5), (10.4,23.8,41.4,25.5)])
R(c_5t_ota_top, via, [(25.175,10.675,25.325,10.825), (25.575,10.675,25.725,10.825), (26.275,10.675,26.425,10.825), (26.675,10.675,26.825,10.825), (25.175,11.175,25.325,11.325), (25.575,11.175,25.725,11.325), (26.275,11.175,26.425,11.325), (26.675,11.175,26.825,11.325)])
R(c_5t_ota_top, met2, [(25.5,-16.6,26.5,-9.5), (7,9,8,17.5), (8.5,9,9.5,10.5), (42.5,9,43.5,10.5), (44,9,45,17.5), (8.5,10.5,43.5,11.5), (7,17.5,10,19.5), (42,17.5,45,19.5)])
R(c_5t_ota_top, hvi, [(6,-23,46,-21), (6,-21,9,10.5), (43,-21,46,10.5), (6,10.5,46,11.9), (6,11.9,10.4,24.4), (41.4,11.9,46,24.4), (6,24.4,46,26)])
R(c_5t_ota_top, nsdm, [(6.375,-22.625,45.625,-21.375), (6.375,-21.375,7.625,24.375), (44.375,-21.375,45.625,24.375), (10.275,23.675,41.525,24.375), (6.375,24.375,45.625,25.625)])
R(c_5t_ota_top, psdm, [(11.875,-11.125,12.625,-8.875), (39.375,-11.125,40.125,-8.875)])
c_5t_ota_top.add(gdstk.Reference(c_y, (0.52,-16.11)))
c_5t_ota_top.add(gdstk.Reference(mirror_load, (4.2,12.7)))
c_5t_ota_top.add(gdstk.Reference(differential_pair, (5.5,-8)))

lib.write_gds('5t-ota_top.gds')
